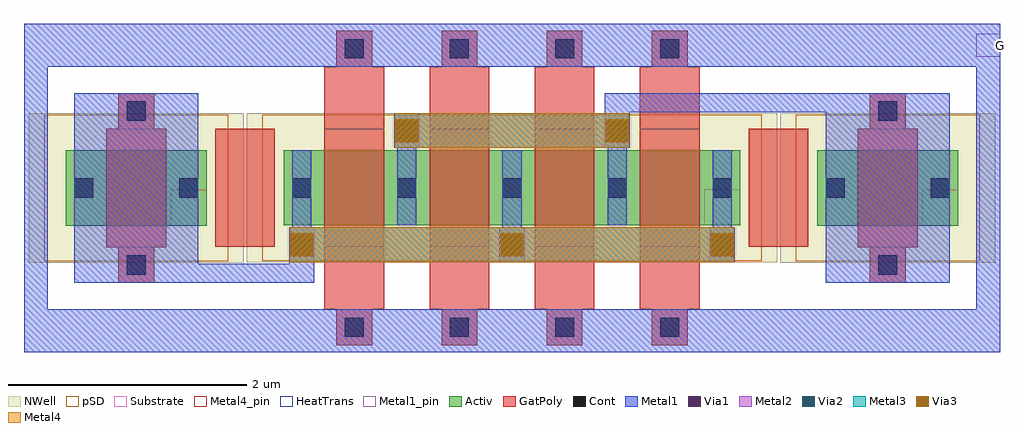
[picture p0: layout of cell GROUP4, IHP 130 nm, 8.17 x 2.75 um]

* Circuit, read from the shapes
.subckt GROUP4 G
XM1 pmos$1_priv1_0/D pmos$1_priv1_0/D pmos$1_priv1_0/D n1 sg13_lv_pmos w=0.63u l=0.5u
XM2 pmos$1_priv1_0/S G pmos$1_priv1_0/D n2 sg13_lv_pmos w=0.625u l=0.5u m=4
XM3 pmos$1_priv1_0/S pmos$1_priv1_0/S pmos$1_priv1_0/S n3 sg13_lv_pmos w=0.63u l=0.5u
.ends

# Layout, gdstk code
import gdstk
lib = gdstk.Library(unit=1e-6, precision=1e-09)
def R(c, l, rs):  # rectangles x0, y0, x1, y1
    for r in rs: c.add(gdstk.rectangle(r[:2], r[2:], *l))
def A(c, l, x, y, w, h, nx, ny, dx, dy):  # array of equal rectangles
    R(c, l, [(x+i*dx, y+j*dy, x+i*dx+w, y+j*dy+h) for i in range(nx) for j in range(ny)])
Activ = (1, 0)
GatPoly = (5, 0)
Cont = (6, 0)
Metal1 = (8, 0)
Metal1_pin = (8, 2)
Metal2 = (10, 0)
pSD = (14, 0)
Via1 = (19, 0)
Via2 = (29, 0)
Metal3 = (30, 0)
NWell = (31, 0)
Substrate = (40, 0)
Via3 = (49, 0)
Metal4 = (50, 0)
Metal4_pin = (50, 2)
HeatTrans = (51, 0)

pmos_1_priv1 = lib.new_cell('pmos$1_priv1')
A(pmos_1_priv1, Activ, 0, 0, 0.3, 0.3, 5, 1, 0.88, 0)
R(pmos_1_priv1, Activ, [(0,0,3.82,0.625)])
A(pmos_1_priv1, GatPoly, 0.44, -1.005, 0.3, 0.3, 4, 2, 0.88, 2.33)
A(pmos_1_priv1, GatPoly, 0.34, -0.705, 0.5, 0.525, 4, 1, 0.88, 0)
A(pmos_1_priv1, GatPoly, 0.34, -0.18, 0.5, 0.985, 4, 1, 0.88, 0)
A(pmos_1_priv1, GatPoly, 0.34, 0.805, 0.5, 0.52, 4, 1, 0.88, 0)
R(pmos_1_priv1, GatPoly, [(0.34,-0.18,0.84,0.805)])
A(pmos_1_priv1, Cont, 0.51, -0.935, 0.16, 0.16, 4, 2, 0.88, 2.33)
A(pmos_1_priv1, Cont, 0.07, 0.23, 0.16, 0.16, 5, 1, 0.88, 0)
A(pmos_1_priv1, Metal1, 0.455, -1.065, 0.27, 0.36, 4, 2, 0.88, 2.39)
A(pmos_1_priv1, Metal1, 0.045, -0.31, 0.21, 0.29, 3, 1, 1.76, 0)
A(pmos_1_priv1, Metal1, 0.07, -0.035, 0.16, 0.05, 3, 1, 1.76, 0)
A(pmos_1_priv1, Metal1, 0.95, 0, 0.16, 0.625, 4, 1, 0.88, 0)
R(pmos_1_priv1, Metal1, [(0.07,0,0.23,0.625), (0.07,0,0.23,0.625), (0.95,0,1.11,0.625), (0.95,0.61,1.11,0.66), (2.71,0.61,2.87,0.66), (0.925,0.645,1.135,0.935), (2.685,0.645,2.895,0.935)])
A(pmos_1_priv1, Metal2, 0.05, -0.31, 0.2, 0.29, 3, 1, 1.76, 0)
R(pmos_1_priv1, Metal2, [(0.05,-0.31,3.77,-0.02), (0.93,0.645,2.89,0.935), (0.93,0.645,1.13,0.935), (2.69,0.645,2.89,0.935)])
R(pmos_1_priv1, pSD, [(-0.18,-0.3,4,0.925)])
A(pmos_1_priv1, Via1, 0.055, -0.26, 0.19, 0.19, 3, 1, 1.76, 0)
R(pmos_1_priv1, Via1, [(0.935,0.695,1.125,0.885), (2.695,0.695,2.885,0.885)])
A(pmos_1_priv1, Via2, 0.055, -0.26, 0.19, 0.19, 3, 1, 1.76, 0)
R(pmos_1_priv1, Via2, [(0.935,0.695,1.125,0.885), (2.695,0.695,2.885,0.885)])
A(pmos_1_priv1, Metal3, 0.05, -0.31, 0.2, 0.29, 3, 1, 1.76, 0)
R(pmos_1_priv1, Metal3, [(0.05,-0.31,3.77,-0.02), (0.93,0.645,2.89,0.935), (0.93,0.645,1.13,0.935), (2.69,0.645,2.89,0.935)])
R(pmos_1_priv1, NWell, [(-0.31,-0.31,4.13,0.935)])
R(pmos_1_priv1, Substrate, [(3.52,0,3.82,0.3)])
A(pmos_1_priv1, Via3, 0.055, -0.26, 0.19, 0.19, 3, 1, 1.76, 0)
R(pmos_1_priv1, Via3, [(0.935,0.695,1.125,0.885), (2.695,0.695,2.885,0.885)])
A(pmos_1_priv1, Metal4, 0.05, -0.31, 0.2, 0.29, 3, 1, 1.76, 0)
R(pmos_1_priv1, Metal4, [(0.05,-0.31,3.77,-0.02), (0.93,0.645,2.89,0.935), (0.93,0.645,1.13,0.935), (2.69,0.645,2.89,0.935)])
R(pmos_1_priv1, Metal4_pin, [(3.575,-0.26,3.765,-0.07), (2.695,0.695,2.885,0.885)])
A(pmos_1_priv1, HeatTrans, 0.34, -0.18, 0.5, 0.985, 4, 1, 0.88, 0)
pmos_1_priv1.add(gdstk.Label('pmos', (0.59,0.313), layer=63, texttype=0))
pmos_1_priv1.add(gdstk.Label('pmos', (0.59,0.313), layer=51, texttype=0))
pmos_1_priv1.add(gdstk.Label('pmos', (1.47,0.313), layer=51, texttype=0))
pmos_1_priv1.add(gdstk.Label('pmos', (2.35,0.313), layer=51, texttype=0))
pmos_1_priv1.add(gdstk.Label('pmos', (3.23,0.313), layer=51, texttype=0))
pmos_1_priv1.add(gdstk.Label('S', (2.79,0.79), layer=50, texttype=0))
pmos_1_priv1.add(gdstk.Label('D', (3.67,-0.165), layer=50, texttype=0))

pmos_3_priv1 = lib.new_cell('pmos$3_priv1')
R(pmos_3_priv1, Activ, [(0,0,0.3,0.3), (0,0,1.18,0.63), (0.88,0,1.18,0.3)])
R(pmos_3_priv1, GatPoly, [(0.44,-0.48,0.74,-0.18), (0.34,-0.18,0.84,0.81), (0.34,-0.18,0.84,0.81), (0.44,0.81,0.74,1.11)])
R(pmos_3_priv1, Cont, [(0.51,-0.41,0.67,-0.25), (0.07,0.235,0.23,0.395), (0.95,0.235,1.11,0.395), (0.51,0.88,0.67,1.04)])
R(pmos_3_priv1, Metal1, [(0.07,-0.48,1.11,1.11), (0.07,0,0.23,0.63), (0.07,0,0.23,0.63), (0.95,0,1.11,0.63), (0.95,0,1.11,0.63)])
R(pmos_3_priv1, pSD, [(-0.18,-0.3,1.36,0.93)])
R(pmos_3_priv1, NWell, [(-0.31,-0.31,1.49,0.94)])
R(pmos_3_priv1, Substrate, [(0.88,0,1.18,0.3)])
R(pmos_3_priv1, HeatTrans, [(0.34,-0.18,0.84,0.81)])
pmos_3_priv1.add(gdstk.Label('pmos', (0.59,0.315), layer=63, texttype=0))
pmos_3_priv1.add(gdstk.Label('pmos', (0.59,0.315), layer=51, texttype=0))

pmos_3_priv2 = lib.new_cell('pmos$3_priv2')
R(pmos_3_priv2, Activ, [(0,0,0.3,0.3), (0,0,1.18,0.63), (0.88,0,1.18,0.3)])
R(pmos_3_priv2, GatPoly, [(0.44,-0.48,0.74,-0.18), (0.34,-0.18,0.84,0.81), (0.34,-0.18,0.84,0.81), (0.44,0.81,0.74,1.11)])
R(pmos_3_priv2, Cont, [(0.51,-0.41,0.67,-0.25), (0.07,0.235,0.23,0.395), (0.95,0.235,1.11,0.395), (0.51,0.88,0.67,1.04)])
R(pmos_3_priv2, Metal1, [(0.07,-0.48,1.11,1.11), (0.07,0,0.23,0.63), (0.07,0,0.23,0.63), (0.95,0,1.11,0.63), (0.95,0,1.11,0.63)])
R(pmos_3_priv2, pSD, [(-0.18,-0.3,1.36,0.93)])
R(pmos_3_priv2, NWell, [(-0.31,-0.31,1.49,0.94)])
R(pmos_3_priv2, Substrate, [(0.88,0,1.18,0.3)])
R(pmos_3_priv2, HeatTrans, [(0.34,-0.18,0.84,0.81)])
pmos_3_priv2.add(gdstk.Label('pmos', (0.59,0.315), layer=63, texttype=0))
pmos_3_priv2.add(gdstk.Label('pmos', (0.59,0.315), layer=51, texttype=0))

group4 = lib.new_cell('GROUP4')
R(group4, GatPoly, [(280.255,-87.49,280.755,-86.505), (284.72,-87.49,285.22,-86.505)])
R(group4, Metal1, [(278.655,-88.375,286.825,-88.015), (278.655,-88.375,278.855,-85.625), (286.625,-88.375,286.825,-85.625), (280.115,-87.795,281.085,-87.635), (280.875,-87.635,281.085,-87.33), (283.515,-86.665,283.725,-86.365), (283.515,-86.365,285.365,-86.205), (278.655,-85.985,286.825,-85.625)])
R(group4, Metal1_pin, [(286.625,-85.9,286.825,-85.71)])
group4.add(gdstk.Reference(pmos_1_priv1, (280.83,-87.31)))
group4.add(gdstk.Reference(pmos_3_priv1, (279.005,-87.315)))
group4.add(gdstk.Reference(pmos_3_priv2, (285.295,-87.315)))
group4.add(gdstk.Label('G', (286.825,-85.805), layer=8, texttype=0))

lib.write_gds('GROUP4.gds')
